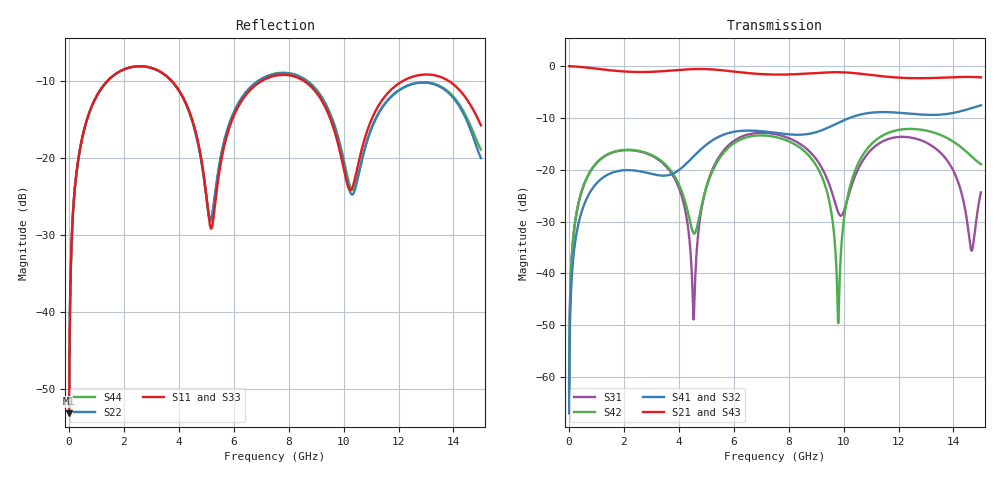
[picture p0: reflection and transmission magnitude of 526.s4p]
! Created with skrf 1.8.0 (http://scikit-rf.org).
# GHz S RI R 50.0
!freq ReS11 ImS11 ReS12 ImS12 ReS13 ImS13
! ReS14 ImS14
! ReS21 ImS21 ReS22 ImS22 ReS23 ImS23
! ReS24 ImS24
! ReS31 ImS31 ReS32 ImS32 ReS33 ImS33
! ReS34 ImS34
! ReS41 ImS41 ReS42 ImS42 ReS43 ImS43
! ReS44 ImS44
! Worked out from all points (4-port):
!   2499 points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, 5 MHz to 15 GHz, reference 50 ohm
!   strongest paths, dB at 5 MHz, 3.476 GHz, 7.19 GHz, 11.1 GHz, 15 GHz:
!     S21: 0.0, -1.0, -1.6, -1.8, -2.2
!     S43: 0.0, -1.0, -1.6, -1.8, -2.2
!     S41: -67.0, -21.1, -12.7, -8.9, -7.6
!     S32: -67.0, -21.1, -12.7, -8.9, -7.6
!     S42: -63.0, -18.8, -13.4, -14.6, -18.9
!     S31: -63.0, -19.0, -12.9, -15.7, -24.4
!   lowest |S11| = -53.2 dB at 5 MHz (marker M1), VSWR 1.00, Z = 50.2 + j0.132 ohm
!   |S11| at or under -10 dB: start of sweep to 1.406 GHz; 3.738 GHz to 7.025 GHz (3.287 GHz wide, 61.1 % of centre); 8.549 GHz to 12.17 GHz (3.617 GHz wide, 34.9 % of centre)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
0.005  0.00174 0.00132  0.9982 -0.00338  8.8e-05 0.000701  -8.54e-05 -0.000438
       0.9982 -0.00338  0.00174 0.00132  -8.54e-05 -0.000438  8.8e-05 0.000701
       8.8e-05 0.000701  -8.54e-05 -0.000438  0.00174 0.00132  0.9982 -0.00338
       -8.54e-05 -0.000438  8.8e-05 0.000701  0.9982 -0.00338  0.00174 0.00132
1.519383  0.2819 0.1731  0.5238 -0.7438  0.1317 0.0595  -0.0924 -0.00208
          0.5238 -0.7438  0.2814 0.1735  -0.0924 -0.00212  0.1334 0.057
          0.1317 0.0595  -0.0924 -0.00212  0.2819 0.1732  0.5237 -0.7438
          -0.0924 -0.00208  0.1334 0.057  0.5237 -0.7438  0.2814 0.1735
4.539391  0.0862 -0.1401  -0.8354 -0.4206  -0.00345 -0.000988  -0.0567 0.1222
          -0.8354 -0.4206  0.0889 -0.1354  -0.0569 0.1221  -0.0219 -0.0106
          -0.00345 -0.000988  -0.0569 0.1221  0.0867 -0.1397  -0.8355 -0.4205
          -0.0567 0.1222  -0.0219 -0.0106  -0.8355 -0.4205  0.0883 -0.1356
7.978324  0.3427 -0.0332  -0.0173 0.8301  0.1804 -0.0933  0.2073 -0.0733
          -0.0173 0.8301  0.3502 -0.0459  0.2068 -0.072  0.1779 -0.0647
          0.1804 -0.0933  0.2068 -0.072  0.3458 -0.0363  -0.0169 0.829
          0.2073 -0.0733  0.1779 -0.0647  -0.0169 0.829  0.3528 -0.0433
9.804085  0.0865 -0.0859  0.7654 0.4188  -0.0341 -0.0187  0.127 -0.2532
          0.7654 0.4188  0.0838 -0.1011  0.1291 -0.2522  -0.00325 -0.00061
          -0.0341 -0.0187  0.1291 -0.2522  0.0856 -0.0914  0.7646 0.419
          0.127 -0.2532  -0.00325 -0.00061  0.7646 0.419  0.0891 -0.1031
11.09837  0.1458 0.123  0.7767 -0.2466  0.1004 0.1299  -0.1483 -0.3247
          0.7767 -0.2466  0.1327 0.1045  -0.1465 -0.3257  0.1467 0.1139
          0.1004 0.1299  -0.1465 -0.3257  0.1437 0.121  0.7769 -0.2471
          -0.1483 -0.3247  0.1467 0.1139  0.7769 -0.2471  0.1337 0.1013
15  0.13 -0.0979  -0.6517 -0.426  0.0171 0.0579  -0.2204 0.3554
    -0.6517 -0.426  0.0967 -0.0235  -0.2251 0.3524  -0.1081 -0.0333
    0.0171 0.0579  -0.2251 0.3524  0.1253 -0.1096  -0.651 -0.4251
    -0.2204 0.3554  -0.1081 -0.0333  -0.651 -0.4251  0.1106 -0.0247
